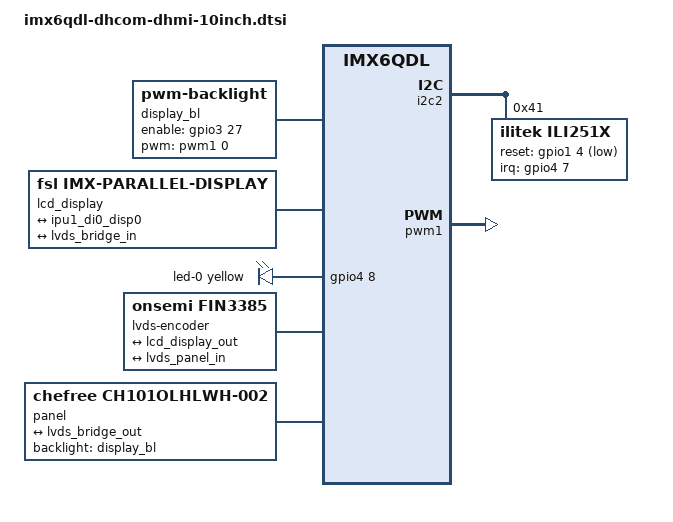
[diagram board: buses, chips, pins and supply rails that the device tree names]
// SPDX-License-Identifier: GPL-2.0+
/*
 * Copyright (C) 2021 DH electronics GmbH
 */

#include <dt-bindings/leds/common.h>

/ {
	chosen {
		stdout-path = "serial0:115200n8";
	};

	display_bl: display-bl {
		brightness-levels = <0 16 22 30 40 55 75 102 138 188 255>;
		compatible = "pwm-backlight";
		default-brightness-level = <8>;
		enable-gpios = <&gpio3 27 GPIO_ACTIVE_HIGH>; /* GPIO G */
		pwms = <&pwm1 0 50000 PWM_POLARITY_INVERTED>;
		status = "okay";
	};

	lcd_display: disp0 {
		#address-cells = <1>;
		#size-cells = <0>;
		compatible = "fsl,imx-parallel-display";
		interface-pix-fmt = "rgb24";
		pinctrl-0 = <&pinctrl_ipu1_lcdif &pinctrl_dhcom_g>;
		pinctrl-names = "default";
		status = "okay";

		port@0 {
			reg = <0>;

			lcd_display_in: endpoint {
				remote-endpoint = <&ipu1_di0_disp0>;
			};
		};

		port@1 {
			reg = <1>;

			lcd_display_out: endpoint {
				remote-endpoint = <&lvds_bridge_in>;
			};
		};
	};

	led {
		compatible = "gpio-leds";

		led-0 {
			color = <LED_COLOR_ID_YELLOW>;
			default-state = "off";
			function = LED_FUNCTION_INDICATOR;
			gpios = <&gpio4 8 GPIO_ACTIVE_HIGH>; /* GPIO I */
			pinctrl-0 = <&pinctrl_dhcom_i>;
			pinctrl-names = "default";
		};
	};

	lvds-encoder {
		compatible = "onsemi,fin3385", "lvds-encoder";
		pixelclk-active = <0>;

		ports {
			#address-cells = <1>;
			#size-cells = <0>;

			port@0 {
				reg = <0>;

				lvds_bridge_in: endpoint {
					remote-endpoint = <&lcd_display_out>;
				};
			};

			port@1 {
				reg = <1>;

				lvds_bridge_out: endpoint {
					remote-endpoint = <&lvds_panel_in>;
				};
			};
		};
	};

	panel {
		backlight = <&display_bl>;
		compatible = "chefree,ch101olhlwh-002";

		port {
			lvds_panel_in: endpoint {
				remote-endpoint = <&lvds_bridge_out>;
			};
		};
	};
};

&gpio1 {
	gpio-line-names =
		"", "", "DHCOM-A", "", "DHCOM-B", "PicoITX-In2", "", "",
		"", "", "", "", "", "", "", "",
		"DHCOM-R", "DHCOM-S", "DHCOM-Q", "DHCOM-T", "DHCOM-U", "", "", "",
		"", "", "", "", "", "", "", "";
};

&gpio4 {
	gpio-line-names =
		"", "", "", "", "", "PicoITX-In1", "DHCOM-INT", "DHCOM-H",
		"DHCOM-I", "PicoITX-HW2", "", "", "", "", "", "",
		"", "", "", "", "PicoITX-Out1", "", "", "",
		"", "", "", "", "", "", "", "";
};

&gpio6 {
	gpio-line-names =
		"", "", "", "PicoITX-Out2", "", "", "SOM-HW1", "",
		"", "", "", "", "", "", "PicoITX-HW0", "PicoITX-HW1",
		"", "", "", "", "", "", "", "",
		"", "", "", "", "", "", "", "";
};

&i2c2 {
	ili251x@41 {
		compatible = "ilitek,ili251x";
		interrupt-parent = <&gpio4>;
		interrupts = <7 IRQ_TYPE_EDGE_FALLING>; /* GPIO H */
		pinctrl-0 = <&pinctrl_dhcom_b &pinctrl_dhcom_h>;
		pinctrl-names = "default";
		reg = <0x41>;
		reset-gpios = <&gpio1 4 GPIO_ACTIVE_LOW>; /* GPIO B */
		touchscreen-inverted-x;
		touchscreen-inverted-y;
		touchscreen-size-x = <0x4000>;
		touchscreen-size-y = <0x2580>;
	};
};

&ipu1_di0_disp0 {
	remote-endpoint = <&lcd_display_in>;
};

&pwm1 {
	status = "okay";
};

&iomuxc {
	pinctrl-0 = <
			/*
			 * The following DHCOM GPIOs are used on this board.
			 * Therefore, they have been removed from the list below.
			 * B: touchscreen reset
			 * G: backlight enable
			 * H: touchscreen interrupt
			 * I: yellow led
			 */
			&pinctrl_hog_base
			&pinctrl_dhcom_a &pinctrl_dhcom_c
			&pinctrl_dhcom_d &pinctrl_dhcom_e &pinctrl_dhcom_f
			&pinctrl_dhcom_j &pinctrl_dhcom_k &pinctrl_dhcom_l
			&pinctrl_dhcom_m &pinctrl_dhcom_n &pinctrl_dhcom_o
			&pinctrl_dhcom_p &pinctrl_dhcom_q &pinctrl_dhcom_r
			&pinctrl_dhcom_s &pinctrl_dhcom_t &pinctrl_dhcom_u
			&pinctrl_dhcom_v &pinctrl_dhcom_w &pinctrl_dhcom_int
		>;
	pinctrl-names = "default";

	pinctrl_ipu1_lcdif: ipu1-lcdif-grp {
		fsl,pins = <
			MX6QDL_PAD_DI0_DISP_CLK__IPU1_DI0_DISP_CLK	0x38
			MX6QDL_PAD_DI0_PIN2__IPU1_DI0_PIN02		0x38
			MX6QDL_PAD_DI0_PIN3__IPU1_DI0_PIN03		0x38
			MX6QDL_PAD_DI0_PIN15__IPU1_DI0_PIN15		0x38
			MX6QDL_PAD_DISP0_DAT0__IPU1_DISP0_DATA00	0x38
			MX6QDL_PAD_DISP0_DAT1__IPU1_DISP0_DATA01	0x38
			MX6QDL_PAD_DISP0_DAT2__IPU1_DISP0_DATA02	0x38
			MX6QDL_PAD_DISP0_DAT3__IPU1_DISP0_DATA03	0x38
			MX6QDL_PAD_DISP0_DAT4__IPU1_DISP0_DATA04	0x38
			MX6QDL_PAD_DISP0_DAT5__IPU1_DISP0_DATA05	0x38
			MX6QDL_PAD_DISP0_DAT6__IPU1_DISP0_DATA06	0x38
			MX6QDL_PAD_DISP0_DAT7__IPU1_DISP0_DATA07	0x38
			MX6QDL_PAD_DISP0_DAT8__IPU1_DISP0_DATA08	0x38
			MX6QDL_PAD_DISP0_DAT9__IPU1_DISP0_DATA09	0x38
			MX6QDL_PAD_DISP0_DAT10__IPU1_DISP0_DATA10	0x38
			MX6QDL_PAD_DISP0_DAT11__IPU1_DISP0_DATA11	0x38
			MX6QDL_PAD_DISP0_DAT12__IPU1_DISP0_DATA12	0x38
			MX6QDL_PAD_DISP0_DAT13__IPU1_DISP0_DATA13	0x38
			MX6QDL_PAD_DISP0_DAT14__IPU1_DISP0_DATA14	0x38
			MX6QDL_PAD_DISP0_DAT15__IPU1_DISP0_DATA15	0x38
			MX6QDL_PAD_DISP0_DAT16__IPU1_DISP0_DATA16	0x38
			MX6QDL_PAD_DISP0_DAT17__IPU1_DISP0_DATA17	0x38
			MX6QDL_PAD_DISP0_DAT18__IPU1_DISP0_DATA18	0x38
			MX6QDL_PAD_DISP0_DAT19__IPU1_DISP0_DATA19	0x38
			MX6QDL_PAD_DISP0_DAT20__IPU1_DISP0_DATA20	0x38
			MX6QDL_PAD_DISP0_DAT21__IPU1_DISP0_DATA21	0x38
			MX6QDL_PAD_DISP0_DAT22__IPU1_DISP0_DATA22	0x38
			MX6QDL_PAD_DISP0_DAT23__IPU1_DISP0_DATA23	0x38
		>;
	};
};
